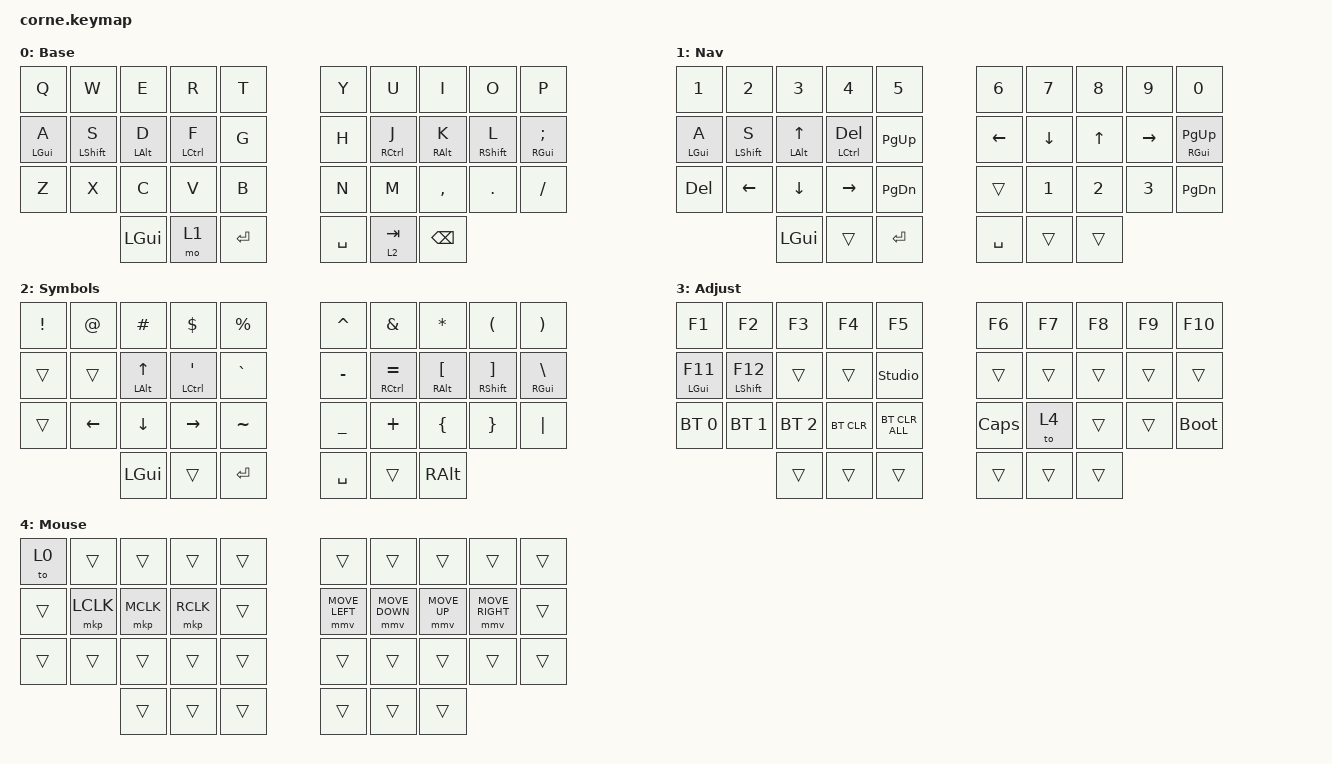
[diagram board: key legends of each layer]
/*
 * Copyright (c) 2020 The ZMK Contributors
 *
 * SPDX-License-Identifier: MIT
 */

#include <behaviors.dtsi>
#include <dt-bindings/zmk/keys.h>
#include <dt-bindings/zmk/bt.h>
#include <dt-bindings/zmk/pointing.h>

#define DEF 0
#define NAV 1
#define SYM 2
#define ADJ 3
#define MOUSE 4

/ {
        chosen {
          zmk,physical-layout = &foostan_corne_5col_layout;
        };
        
        behaviors {
                hm: homerow_mods {
                        compatible = "zmk,behavior-hold-tap";
                        label = "HOMEROW_MODS";
                        #binding-cells = <2>;
                        tapping-term-ms = <200>;
                        quick_tap_ms = <0>;
                        flavor = "tap-preferred";
                        bindings = <&kp>, <&kp>;

                        quick-tap-ms = <180>;
                        global-quick-tap;
                                
                };
        };

        keymap {
                compatible = "zmk,keymap";

                DEF {
                        display-name = "Base";
// -----------------------------------------------------------------------------------------
// |  TAB |  Q  |  W  |  E  |  R  |  T  |   |  Y  |  U   |  I  |  O  |  P  | BSPC |
// | CTRL |  A  |  S  |  D  |  F  |  G  |   |  H  |  J   |  K  |  L  |  ;  |  '   |
// | SHFT |  Z  |  X  |  C  |  V  |  B  |   |  N  |  M   |  ,  |  .  |  /  | ESC  |
//                    | GUI | LWR | SPC |   | ENT | RSE  | ALT |
                        bindings = <
   &kp Q       &kp W        &kp E       &kp R        &kp T        &kp Y    &kp U        &kp I          &kp O        &kp P
   &hm LGUI A  &hm LSHFT S  &hm LALT D  &hm LCTRL F  &kp G        &kp H    &hm RCTRL J  &hm RALT K     &hm RSHFT L  &hm RGUI SEMI
   &kp Z       &kp X        &kp C       &kp V        &kp B        &kp N    &kp M        &kp COMMA      &kp DOT      &kp FSLH
                  &kp LGUI    &mo 1        &kp RET    &kp SPACE  &lt 2 TAB    &kp BACKSPACE
                        >;
                };
                NAV {
                        display-name = "Nav";
// -----------------------------------------------------------------------------------------
// |  TAB |  1  |  2  |  3  |  4  |  5  |   |  6  |  7  |  8  |  9  |  0  | BSPC |
// | BTCLR| BT1 | BT2 | BT3 | BT4 | BT5 |   | LFT | DWN |  UP | RGT |     |      |
// | SHFT |     |     |     |     |     |   |     |     |     |     |     |      |
//                    | GUI |     | SPC |   | ENT |     | ALT |
                        bindings = <
   &kp N1       &kp N2       &kp N3        &kp N4     &kp N5          &kp N6   &kp N7        &kp N8       &kp N9        &kp N0
   &hm LGUI A  &hm LSHFT S  &hm LALT UP_ARROW  &hm LCTRL DEL    &kp PAGE_UP      &kp LEFT   &kp DOWN  &kp UP  &kp RIGHT  &hm RGUI PAGE_UP
   &kp DEL       &kp LEFT      &kp DOWN           &kp RIGHT_ARROW  &kp PAGE_DOWN    &trans   &kp N1        &kp N2       &kp N3        &kp PAGE_DOWN
                                    &kp LGUI           &trans           &kp RET        &kp SPACE  &trans        &trans
                        >;
                };

               SYM {
                        display-name = "Symbols";
// -----------------------------------------------------------------------------------------
// |  TAB |  !  |  @  |  #  |  $  |  %  |   |  ^  |  &  |  *  |  (  |  )  | BSPC |
// | CTRL |     |     |     |     |     |   |  -  |  =  |  [  |  ]  |  \  |  `   |
// | SHFT |     |     |     |     |     |   |  _  |  +  |  {  |  }  | "|" |  ~   |
//                    | GUI |     | SPC |   | ENT |     | ALT |
                        bindings = <
   &kp EXCL  &kp AT          &kp HASH           &kp DLLR         &kp PRCNT    &kp CARET  &kp AMPS         &kp ASTRK      &kp LEFT_PARENTHESIS  &kp RPAR
   &trans    &trans          &hm LALT UP_ARROW  &hm LCTRL SQT    &kp GRAVE    &kp MINUS  &hm RCTRL EQUAL  &hm RALT LBKT  &hm RSHFT RBKT        &hm RGUI BSLH
   &trans    &kp LEFT_ARROW  &kp DOWN_ARROW     &kp RIGHT_ARROW  &kp TILDE    &kp UNDER  &kp PLUS         &kp LBRC       &kp RBRC              &kp PIPE
                             &kp LGUI &trans   &kp RET   &kp SPACE   &trans    &kp RALT
                        >;
                };
                ADJ {
                        display-name = "Adjust";
                        bindings = <
   &kp F1        &kp F2         &kp F3        &kp F4      &kp F5            &kp F6  &kp F7  &kp F8  &kp F9  &kp F10
   &hm LGUI F11  &hm LSHFT F12  &trans        &trans      &studio_unlock            &trans  &trans  &trans  &trans  &trans
   &bt BT_SEL 0  &bt BT_SEL 1   &bt BT_SEL 2  &bt BT_CLR  &bt BT_CLR_ALL    &kp CAPS  &to 4   &trans  &trans  &bootloader
                           &trans        &trans      &trans            &trans  &trans  &trans
                        >;     

                };

                MOUSE {
                        display-name = "Mouse";
                        bindings = <

   &to 0        &trans         &trans            &trans      &trans         &trans  &trans  &trans  &trans  &trans
   &trans       &mkp LCLK      &mkp MCLK         &mkp RCLK   &trans         &mmv MOVE_LEFT  &mmv MOVE_DOWN  &mmv MOVE_UP  &mmv MOVE_RIGHT  &trans
   &trans       &trans   &trans  &trans  &trans    &trans  &trans  &trans  &trans  &trans
                      &trans        &trans      &trans            &trans  &trans  &trans

                        >;
                };
        };

        conditional_layers {
                compatible = "zmk,conditional-layers";

                l3 {
                        if-layers = <1 2>;
                        then-layer = <3>;
                };

        
        };
};
